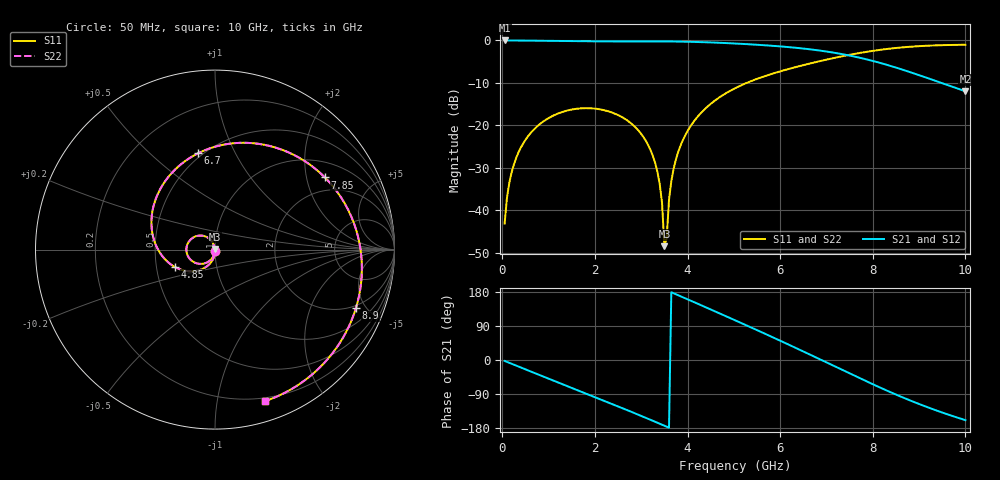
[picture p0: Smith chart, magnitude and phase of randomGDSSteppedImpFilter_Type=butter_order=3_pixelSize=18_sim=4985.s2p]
! freq	dB(S11)	phase(S11)	dB(S12)	phase(S12)
!  dB(S21)	phase(S21)	dB(S22)	phase(S22)
!S-par simulation data
#  GHz  S  DB  R 50
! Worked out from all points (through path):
!   200 points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, 50 MHz to 10 GHz, reference 50 ohm
!   highest |S21| = 0.00 dB at 50 MHz (marker M1); lowest = -12.0 dB at 10 GHz (marker M2)
!   group delay of S21, straight-line fit = 148 ps
!   lowest |S11| = -48.4 dB at 3.5 GHz (marker M3), VSWR 1.01, Z = 49.9 + j0.374 ohm
!   |S11| at or under -10 dB: start of sweep to 5.276 GHz
!   |S22| runs from -48.4 to -1.0 dB; largest |S21 - S12| = 0
!   S11 on the Smith chart (normalised r, x): 50 MHz: 1.00, -0.01; 4.85 GHz: 0.63, -0.13; 6.7 GHz: 0.47, +0.72; 7.85 GHz: 1.48, +2.58; 8.9 GHz: 1.81, -4.27; 10 GHz: 0.17, -1.37
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0.05  -43.11 -92.5  -0.00 -2.5  -0.00 -2.5  -43.12 -92.5
0.2  -31.12 -100.0  -0.01 -9.9  -0.01 -9.9  -31.12 -100.0
0.5  -23.41 -115.1  -0.03 -24.8  -0.03 -24.8  -23.41 -115.1
1.75  -15.95 -176.6  -0.21 -85.7  -0.21 -85.7  -15.95 -176.6
2.85  -20.18 129.2  -0.21 -139.9  -0.21 -139.9  -20.19 129.2
3.2  -25.78 111.4  -0.21 -157.8  -0.21 -157.8  -25.78 111.5
3.4  -33.84 101.3  -0.22 -168.2  -0.22 -168.2  -33.84 101.5
3.45  -38.32 98.9  -0.22 -170.8  -0.22 -170.8  -38.33 99.3
3.5  -48.44 98.8  -0.22 -173.4  -0.22 -173.4  -48.44 100.9
3.55  -46.54 -88.6  -0.23 -176.0  -0.23 -176.0  -46.53 -89.7
3.6  -37.51 -90.0  -0.23 -178.6  -0.23 -178.6  -37.50 -90.4
3.65  -33.13 -92.4  -0.24 178.8  -0.24 178.8  -33.12 -92.6
3.85  -24.73 -102.8  -0.27 168.2  -0.27 168.2  -24.73 -102.9
4.85  -12.29 -156.4  -0.62 114.5  -0.62 114.5  -12.29 -156.4
5.05  -11.12 -167.3  -0.73 103.6  -0.73 103.6  -11.12 -167.3
5.8  -7.94 151.3  -1.23 62.2  -1.23 62.2  -7.94 151.3
6.7  -5.28 100.0  -2.16 11.0  -2.16 11.0  -5.28 100.0
7.3  -3.81 65.0  -3.14 -23.8  -3.14 -23.8  -3.81 65.0
7.85  -2.70 33.3  -4.41 -55.5  -4.41 -55.5  -2.70 33.3
8.35  -1.95 5.7  -5.89 -83.2  -5.89 -83.2  -1.95 5.7
8.9  -1.41 -22.6  -7.80 -111.3  -7.80 -111.3  -1.41 -22.6
10  -1.02 -71.8  -11.97 -158.7  -11.97 -158.7  -1.02 -71.8
